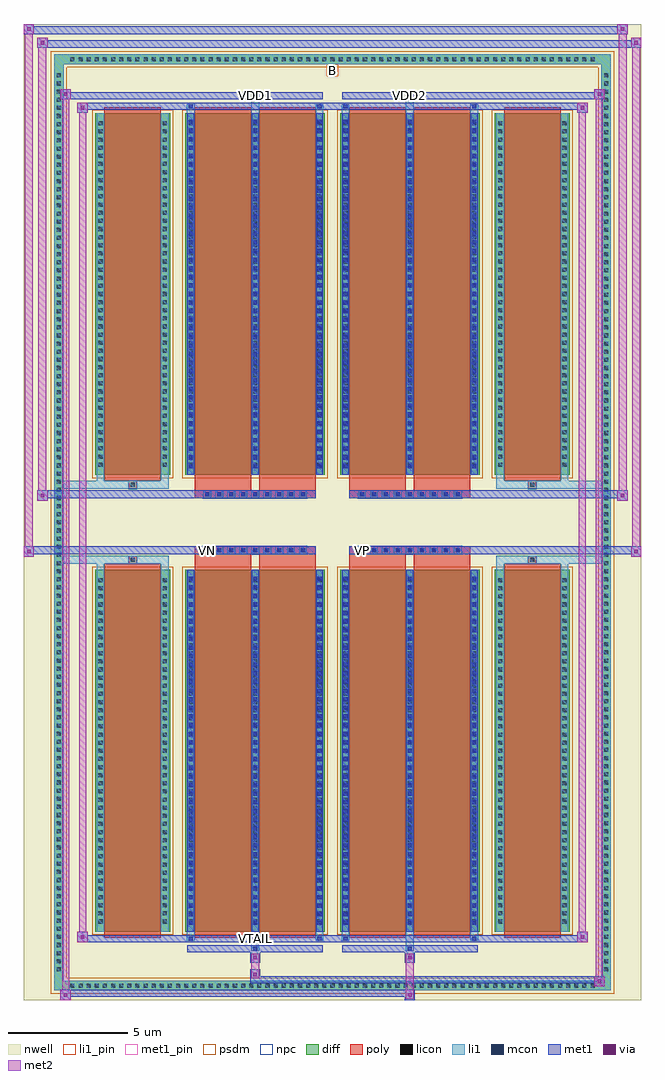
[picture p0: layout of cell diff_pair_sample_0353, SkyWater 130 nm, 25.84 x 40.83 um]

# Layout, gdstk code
import gdstk
lib = gdstk.Library(unit=1e-6, precision=5e-09)
def R(c, l, rs):  # rectangles x0, y0, x1, y1
    for r in rs: c.add(gdstk.rectangle(r[:2], r[2:], *l))
def A(c, l, x, y, w, h, nx, ny, dx, dy):  # array of equal rectangles
    R(c, l, [(x+i*dx, y+j*dy, x+i*dx+w, y+j*dy+h) for i in range(nx) for j in range(ny)])
def P(c, l, *ps):  # polygons
    for p in ps: c.add(gdstk.Polygon(p, *l))
nwell = (64, 20)
diff = (65, 20)
poly = (66, 20)
licon = (66, 44)
li1_pin = (67, 16)
li1 = (67, 20)
mcon = (67, 44)
met1_pin = (68, 16)
met1 = (68, 20)
via = (68, 44)
met2 = (69, 20)
psdm = (94, 20)
npc = (95, 20)

diff_pair_sample_0353 = lib.new_cell('diff_pair_sample_0353')
R(diff_pair_sample_0353, nwell, [(-12.92,-19.98,12.92,20.85), (-10.24,-18.17,-0.01,-0.805), (0.01,-18.17,10.24,-0.805), (-10.24,0.805,-0.01,18.17), (0.01,0.805,10.24,18.17)])
A(diff_pair_sample_0353, diff, -11.085, -19.58, 0.41, 0.41, 65, 2, 0.34, 38.75)
A(diff_pair_sample_0353, diff, -11.65, -18.905, 0.41, 0.41, 1, 111, 0, 0.34)
A(diff_pair_sample_0353, diff, 11.24, -18.905, 0.41, 0.41, 1, 111, 0, 0.34)
R(diff_pair_sample_0353, diff, [(-11.085,-19.58,11.085,-19.17), (-11.65,-18.905,-11.24,18.905), (11.24,-18.905,11.65,18.905), (-9.93,-17.125,-6.79,-1.985), (-6.15,-17.125,-0.32,-1.985), (0.32,-17.125,6.15,-1.985), (6.79,-17.125,9.93,-1.985), (-9.93,1.985,-6.79,17.125), (-6.15,1.985,-0.32,17.125), (0.32,1.985,6.15,17.125), (6.79,1.985,9.93,17.125), (-11.085,19.17,11.085,19.58)])
P(diff_pair_sample_0353, diff, [(11.65,19.58),(-11.65,19.58),(-11.65,-19.17),(-11.24,-19.17),(-11.24,19.17),(11.24,19.17),(11.24,-19.17),(-11.24,-19.17),(-11.65,-19.17),(-11.65,-19.58),(11.65,-19.58)])
A(diff_pair_sample_0353, poly, -5.4, -1.335, 0.33, 0.33, 9, 2, 0.5, 2.34)
A(diff_pair_sample_0353, poly, 1.07, -1.335, 0.33, 0.33, 9, 2, 0.5, 2.34)
R(diff_pair_sample_0353, poly, [(-9.54,-17.375,-7.18,-1.735), (-5.76,-17.375,-3.4,-1.735), (-3.07,-17.375,-0.71,-1.735), (0.71,-17.375,3.07,-1.735), (3.4,-17.375,5.76,-1.735), (7.18,-17.375,9.54,-1.735), (-8.525,-1.735,-8.195,-1.405), (-8.525,-1.735,-8.195,-1.405), (-5.76,-1.735,-3.4,-1.335), (-3.07,-1.735,-0.71,-1.335), (0.71,-1.735,3.07,-1.335), (3.4,-1.735,5.76,-1.335), (8.195,-1.735,8.525,-1.405), (8.195,-1.735,8.525,-1.405), (-5.76,-1.335,-0.71,-1.005), (0.71,-1.335,5.76,-1.005), (-5.76,1.005,-0.71,1.335), (0.71,1.005,5.76,1.335), (-5.76,1.335,-3.4,1.735), (-3.07,1.335,-0.71,1.735), (0.71,1.335,3.07,1.735), (3.4,1.335,5.76,1.735), (-8.525,1.405,-8.195,1.735), (-8.525,1.405,-8.195,1.735), (8.195,1.405,8.525,1.735), (8.195,1.405,8.525,1.735), (-9.54,1.735,-7.18,17.375), (-5.76,1.735,-3.4,17.375), (-3.07,1.735,-0.71,17.375), (0.71,1.735,3.07,17.375), (3.4,1.735,5.76,17.375), (7.18,1.735,9.54,17.375)])
A(diff_pair_sample_0353, licon, -10.965, -19.46, 0.17, 0.17, 65, 2, 0.34, 38.75)
A(diff_pair_sample_0353, licon, -11.53, -18.785, 0.17, 0.17, 1, 111, 0, 0.34)
A(diff_pair_sample_0353, licon, 11.36, -18.785, 0.17, 0.17, 1, 111, 0, 0.34)
A(diff_pair_sample_0353, licon, -9.79, -16.78, 0.17, 0.17, 1, 43, 0, 0.34)
A(diff_pair_sample_0353, licon, -7.1, -16.78, 0.17, 0.17, 1, 43, 0, 0.34)
A(diff_pair_sample_0353, licon, -6.01, -16.78, 0.17, 0.17, 3, 43, 2.69, 0.34)
A(diff_pair_sample_0353, licon, 0.46, -16.78, 0.17, 0.17, 3, 43, 2.69, 0.34)
A(diff_pair_sample_0353, licon, 6.93, -16.78, 0.17, 0.17, 1, 43, 0, 0.34)
A(diff_pair_sample_0353, licon, 9.62, -16.78, 0.17, 0.17, 1, 43, 0, 0.34)
A(diff_pair_sample_0353, licon, -5.32, -1.255, 0.17, 0.17, 9, 2, 0.5, 2.34)
A(diff_pair_sample_0353, licon, 1.15, -1.255, 0.17, 0.17, 9, 2, 0.5, 2.34)
A(diff_pair_sample_0353, licon, -9.79, 2.33, 0.17, 0.17, 1, 43, 0, 0.34)
A(diff_pair_sample_0353, licon, -7.1, 2.33, 0.17, 0.17, 1, 43, 0, 0.34)
A(diff_pair_sample_0353, licon, -6.01, 2.33, 0.17, 0.17, 3, 43, 2.69, 0.34)
A(diff_pair_sample_0353, licon, 0.46, 2.33, 0.17, 0.17, 3, 43, 2.69, 0.34)
A(diff_pair_sample_0353, licon, 6.93, 2.33, 0.17, 0.17, 1, 43, 0, 0.34)
A(diff_pair_sample_0353, licon, 9.62, 2.33, 0.17, 0.17, 1, 43, 0, 0.34)
R(diff_pair_sample_0353, licon, [(-8.445,-1.655,-8.275,-1.485), (8.275,-1.655,8.445,-1.485), (-8.445,1.485,-8.275,1.655), (8.275,1.485,8.445,1.655)])
R(diff_pair_sample_0353, li1_pin, [(-0.25,18.67,0.25,19.17)])
A(diff_pair_sample_0353, li1, -11.045, -19.54, 0.33, 0.33, 65, 2, 0.34, 38.75)
A(diff_pair_sample_0353, li1, -11.61, -18.865, 0.33, 0.33, 1, 111, 0, 0.34)
A(diff_pair_sample_0353, li1, 11.28, -18.865, 0.33, 0.33, 1, 111, 0, 0.34)
A(diff_pair_sample_0353, li1, -6.09, -17.125, 0.33, 15.14, 3, 2, 2.69, 19.11)
A(diff_pair_sample_0353, li1, 0.38, -17.125, 0.33, 15.14, 3, 2, 2.69, 19.11)
A(diff_pair_sample_0353, li1, -9.87, -16.86, 0.33, 0.33, 1, 43, 0, 0.34)
A(diff_pair_sample_0353, li1, -7.18, -16.86, 0.33, 0.33, 1, 43, 0, 0.34)
A(diff_pair_sample_0353, li1, -6.09, -16.86, 0.33, 0.33, 3, 43, 2.69, 0.34)
A(diff_pair_sample_0353, li1, 0.38, -16.86, 0.33, 0.33, 3, 43, 2.69, 0.34)
A(diff_pair_sample_0353, li1, 6.85, -16.86, 0.33, 0.33, 1, 43, 0, 0.34)
A(diff_pair_sample_0353, li1, 9.54, -16.86, 0.33, 0.33, 1, 43, 0, 0.34)
A(diff_pair_sample_0353, li1, -6.01, -16.84, 0.17, 0.17, 3, 41, 2.69, 0.36)
A(diff_pair_sample_0353, li1, -6.01, -16.84, 0.17, 14.57, 3, 2, 2.69, 19.11)
A(diff_pair_sample_0353, li1, 0.46, -16.84, 0.17, 0.17, 3, 41, 2.69, 0.36)
A(diff_pair_sample_0353, li1, 0.46, -16.84, 0.17, 14.57, 3, 2, 2.69, 19.11)
A(diff_pair_sample_0353, li1, -5.4, -1.335, 0.33, 0.33, 9, 2, 0.5, 2.34)
A(diff_pair_sample_0353, li1, 1.07, -1.335, 0.33, 0.33, 9, 2, 0.5, 2.34)
A(diff_pair_sample_0353, li1, -9.87, 2.25, 0.33, 0.33, 1, 43, 0, 0.34)
A(diff_pair_sample_0353, li1, -7.18, 2.25, 0.33, 0.33, 1, 43, 0, 0.34)
A(diff_pair_sample_0353, li1, -6.09, 2.25, 0.33, 0.33, 3, 43, 2.69, 0.34)
A(diff_pair_sample_0353, li1, 0.38, 2.25, 0.33, 0.33, 3, 43, 2.69, 0.34)
A(diff_pair_sample_0353, li1, 6.85, 2.25, 0.33, 0.33, 1, 43, 0, 0.34)
A(diff_pair_sample_0353, li1, 9.54, 2.25, 0.33, 0.33, 1, 43, 0, 0.34)
A(diff_pair_sample_0353, li1, -6.01, 2.27, 0.17, 0.17, 3, 41, 2.69, 0.36)
A(diff_pair_sample_0353, li1, 0.46, 2.27, 0.17, 0.17, 3, 41, 2.69, 0.36)
R(diff_pair_sample_0353, li1, [(-11.65,-19.58,-11.24,-19.17), (-11.65,-19.58,-11.24,-19.17), (-11.24,-19.58,11.24,-19.17), (11.24,-19.58,11.65,-19.17), (11.24,-19.58,11.65,-19.17), (-11.65,-19.17,-11.24,19.17), (11.24,-19.17,11.65,19.17), (-3.4,-17.93,-3.07,-17.125), (-3.32,-17.93,-3.15,-17.76), (3.07,-17.93,3.4,-17.125), (3.15,-17.93,3.32,-17.76), (-6.09,-17.5,-5.76,-17.125), (-6.01,-17.5,-5.84,-17.33), (-0.71,-17.5,-0.38,-17.125), (-0.63,-17.5,-0.46,-17.33), (0.38,-17.5,0.71,-17.125), (0.46,-17.5,0.63,-17.33), (5.76,-17.5,6.09,-17.125), (5.84,-17.5,6.01,-17.33), (-9.87,-17.125,-9.54,-1.985), (-7.18,-17.125,-6.85,-1.985), (6.85,-17.125,7.18,-1.985), (9.54,-17.125,9.87,-1.985), (-9.87,-1.985,-9.54,-1.405), (-7.18,-1.985,-6.85,-1.405), (6.85,-1.985,7.18,-1.405), (9.54,-1.985,9.87,-1.405), (-11.65,-1.735,-8.525,-1.405), (-9.87,-1.735,-8.525,-1.405), (-8.525,-1.735,-8.195,-1.405), (-8.195,-1.735,-6.85,-1.405), (6.85,-1.735,8.195,-1.405), (8.195,-1.735,8.525,-1.405), (8.195,-1.735,11.65,-1.405), (8.525,-1.735,9.87,-1.405), (-11.65,1.405,-8.525,1.735), (-9.87,1.405,-8.525,1.735), (-9.87,1.405,-9.54,1.985), (-8.525,1.405,-8.195,1.735), (-8.195,1.405,-6.85,1.735), (-7.18,1.405,-6.85,1.985), (6.85,1.405,8.195,1.735), (6.85,1.405,7.18,1.985), (8.195,1.405,8.525,1.735), (8.195,1.405,11.65,1.735), (8.525,1.405,9.87,1.735), (9.54,1.405,9.87,1.985), (-9.87,1.985,-9.54,17.125), (-7.18,1.985,-6.85,17.125), (6.85,1.985,7.18,17.125), (9.54,1.985,9.87,17.125), (-6.09,17.125,-5.76,17.5), (-3.4,17.125,-3.07,17.93), (-0.71,17.125,-0.38,17.5), (0.38,17.125,0.71,17.5), (3.07,17.125,3.4,17.93), (5.76,17.125,6.09,17.5), (-6.01,17.33,-5.84,17.5), (-0.63,17.33,-0.46,17.5), (0.46,17.33,0.63,17.5), (5.84,17.33,6.01,17.5), (-3.32,17.76,-3.15,17.93), (3.15,17.76,3.32,17.93), (-11.65,19.17,-11.24,19.58), (-11.65,19.17,-11.24,19.58), (-11.24,19.17,11.24,19.58), (11.24,19.17,11.65,19.58), (11.24,19.17,11.65,19.58)])
A(diff_pair_sample_0353, mcon, -6.01, -16.84, 0.17, 0.17, 3, 41, 2.69, 0.36)
A(diff_pair_sample_0353, mcon, 0.46, -16.84, 0.17, 0.17, 3, 41, 2.69, 0.36)
A(diff_pair_sample_0353, mcon, -5.32, -1.255, 0.17, 0.17, 9, 2, 0.5, 2.34)
A(diff_pair_sample_0353, mcon, 1.15, -1.255, 0.17, 0.17, 9, 2, 0.5, 2.34)
A(diff_pair_sample_0353, mcon, -6.01, 2.27, 0.17, 0.17, 3, 41, 2.69, 0.36)
A(diff_pair_sample_0353, mcon, 0.46, 2.27, 0.17, 0.17, 3, 41, 2.69, 0.36)
R(diff_pair_sample_0353, mcon, [(-3.32,-17.93,-3.15,-17.76), (3.15,-17.93,3.32,-17.76), (-6.01,-17.5,-5.84,-17.33), (-0.63,-17.5,-0.46,-17.33), (0.46,-17.5,0.63,-17.33), (5.84,-17.5,6.01,-17.33), (-6.01,17.33,-5.84,17.5), (-0.63,17.33,-0.46,17.5), (0.46,17.33,0.63,17.5), (5.84,17.33,6.01,17.5), (-3.32,17.76,-3.15,17.93), (3.15,17.76,3.32,17.93)])
R(diff_pair_sample_0353, met1_pin, [(-3.37,-17.54,-3.1,-17.27), (-5.37,-1.295,-5.1,-1.025), (1.1,-1.295,1.37,-1.025), (-3.37,17.72,-3.1,17.99), (3.1,17.72,3.37,17.99)])
A(diff_pair_sample_0353, met1, -6.07, -17.125, 0.29, 15.14, 3, 2, 2.69, 19.11)
A(diff_pair_sample_0353, met1, 0.4, -17.125, 0.29, 15.14, 3, 2, 2.69, 19.11)
A(diff_pair_sample_0353, met1, -6.07, -16.9, 0.29, 0.29, 3, 41, 2.69, 0.36)
A(diff_pair_sample_0353, met1, 0.4, -16.9, 0.29, 0.29, 3, 41, 2.69, 0.36)
A(diff_pair_sample_0353, met1, -5.38, -1.315, 0.29, 0.29, 9, 2, 0.5, 2.34)
A(diff_pair_sample_0353, met1, 1.09, -1.315, 0.29, 0.29, 9, 2, 0.5, 2.34)
A(diff_pair_sample_0353, met1, -6.07, 2.21, 0.29, 0.29, 3, 41, 2.69, 0.36)
A(diff_pair_sample_0353, met1, 0.4, 2.21, 0.29, 0.29, 3, 41, 2.69, 0.36)
R(diff_pair_sample_0353, met1, [(-11.38,-19.98,-10.95,-19.55), (3.02,-19.98,3.45,-19.55), (-11.38,-19.84,3.45,-19.55), (10.95,-19.41,11.38,-18.98), (-3.45,-19.27,11.38,-18.98), (-3.45,-19.13,-3.02,-18.7), (-3.45,-18.42,-3.02,-17.99), (3.02,-18.42,3.45,-17.99), (-6.07,-17.99,-0.4,-17.7), (-3.38,-17.99,-3.09,-17.7), (0.4,-17.99,6.07,-17.7), (3.09,-17.99,3.38,-17.7), (-10.67,-17.56,-10.24,-17.13), (-10.67,-17.56,-6.07,-17.27), (-6.07,-17.56,-5.78,-17.27), (-6.07,-17.56,-0.4,-17.27), (-0.69,-17.56,-0.4,-17.27), (-0.4,-17.56,0.4,-17.27), (0.4,-17.56,0.69,-17.27), (0.4,-17.56,6.07,-17.27), (5.78,-17.56,6.07,-17.27), (6.07,-17.56,10.67,-17.27), (10.24,-17.56,10.67,-17.13), (-12.92,-1.435,-12.49,-1.005), (12.49,-1.435,12.92,-1.005), (-12.92,-1.335,-0.71,-1.005), (-5.76,-1.335,-0.71,-1.005), (0.71,-1.335,5.76,-1.005), (0.71,-1.335,12.92,-1.005), (-12.35,0.905,-11.92,1.335), (11.92,0.905,12.35,1.335), (-12.35,1.005,-5.76,1.335), (-5.76,1.005,-0.71,1.335), (0.71,1.005,5.76,1.335), (5.76,1.005,12.35,1.335), (-10.67,17.13,-10.24,17.56), (10.24,17.13,10.67,17.56), (-10.67,17.27,-6.07,17.56), (-6.07,17.27,-5.78,17.56), (-6.07,17.27,-0.4,17.56), (-0.69,17.27,-0.4,17.56), (-0.4,17.27,0.4,17.56), (0.4,17.27,0.69,17.56), (0.4,17.27,6.07,17.56), (5.78,17.27,6.07,17.56), (6.07,17.27,10.67,17.56), (-11.38,17.7,-10.95,18.13), (-11.38,17.7,-6.07,17.99), (-6.07,17.7,-0.4,17.99), (-3.38,17.7,-3.09,17.99), (0.4,17.7,6.07,17.99), (3.09,17.7,3.38,17.99), (6.07,17.7,11.38,17.99), (10.95,17.7,11.38,18.13), (-12.35,19.85,-11.92,20.28), (-12.35,19.85,-10.24,20.18), (-10.24,19.85,10.24,20.18), (10.24,19.85,12.92,20.18), (12.49,19.85,12.92,20.28), (-12.92,20.42,-12.49,20.85), (-12.92,20.42,-10.24,20.75), (-10.24,20.42,10.24,20.75), (10.24,20.42,12.35,20.75), (11.92,20.42,12.35,20.85)])
R(diff_pair_sample_0353, via, [(-11.24,-19.84,-11.09,-19.69), (3.16,-19.84,3.31,-19.69), (11.09,-19.27,11.24,-19.12), (-3.31,-18.99,-3.16,-18.84), (-3.31,-18.28,-3.16,-18.13), (3.16,-18.28,3.31,-18.13), (-10.53,-17.42,-10.38,-17.27), (10.38,-17.42,10.53,-17.27), (-12.78,-1.295,-12.63,-1.145), (12.63,-1.295,12.78,-1.145), (-12.21,1.045,-12.06,1.195), (12.06,1.045,12.21,1.195), (-10.53,17.27,-10.38,17.42), (10.38,17.27,10.53,17.42), (-11.24,17.84,-11.09,17.99), (11.09,17.84,11.24,17.99), (-12.21,19.99,-12.06,20.14), (12.63,19.99,12.78,20.14), (-12.78,20.56,-12.63,20.71), (12.06,20.56,12.21,20.71)])
R(diff_pair_sample_0353, met2, [(-11.38,-19.98,-10.95,-19.55), (-11.31,-19.98,-11.02,18.13), (-11.02,-19.98,-10.95,-19.55), (-11.33,-19.93,-11,-19.6), (3.07,-19.93,3.4,-19.6), (3.07,-19.6,3.4,-18.37), (10.95,-19.41,11.38,-18.98), (11.02,-19.41,11.31,18.13), (11.31,-19.41,11.38,-18.98), (11,-19.36,11.33,-19.03), (-3.4,-19.08,-3.07,-18.75), (-3.4,-18.75,-3.07,-18.37), (-3.4,-18.37,-3.07,-18.04), (3.07,-18.37,3.4,-18.04), (-10.67,-17.56,-10.24,-17.13), (-10.6,-17.56,-10.31,17.56), (-10.31,-17.56,-10.24,-17.13), (10.24,-17.56,10.67,-17.13), (10.31,-17.56,10.6,17.56), (10.6,-17.56,10.67,-17.13), (-10.62,-17.51,-10.29,-17.18), (10.29,-17.51,10.62,-17.18), (-12.92,-1.435,-12.49,-1.005), (-12.87,-1.435,-12.54,20.85), (-12.54,-1.435,-12.49,-1.005), (12.49,-1.435,12.92,-1.005), (12.54,-1.435,12.87,20.28), (12.87,-1.435,12.92,-1.005), (-12.87,-1.385,-12.54,-1.055), (12.54,-1.385,12.87,-1.055), (-12.35,0.905,-11.92,1.335), (-12.3,0.905,-11.97,20.28), (-11.97,0.905,-11.92,1.335), (11.92,0.905,12.35,1.335), (11.97,0.905,12.3,20.85), (12.3,0.905,12.35,1.335), (-12.3,0.955,-11.97,1.285), (11.97,0.955,12.3,1.285), (-10.67,17.13,-10.24,17.56), (-10.31,17.13,-10.24,17.56), (10.24,17.13,10.67,17.56), (10.6,17.13,10.67,17.56), (-10.62,17.18,-10.29,17.51), (10.29,17.18,10.62,17.51), (-11.38,17.7,-10.95,18.13), (-11.02,17.7,-10.95,18.13), (10.95,17.7,11.38,18.13), (11.31,17.7,11.38,18.13), (-11.33,17.75,-11,18.08), (11,17.75,11.33,18.08), (-12.35,19.85,-11.92,20.28), (-11.97,19.85,-11.92,20.28), (12.49,19.85,12.92,20.28), (12.87,19.85,12.92,20.28), (-12.3,19.9,-11.97,20.23), (12.54,19.9,12.87,20.23), (-12.92,20.42,-12.49,20.85), (-12.54,20.42,-12.49,20.85), (11.92,20.42,12.35,20.85), (12.3,20.42,12.35,20.85), (-12.87,20.47,-12.54,20.8), (11.97,20.47,12.3,20.8)])
R(diff_pair_sample_0353, psdm, [(-10.06,-17.255,-6.66,-1.855), (-6.28,-17.255,-0.19,-1.855), (0.19,-17.255,6.28,-1.855), (6.66,-17.255,10.06,-1.855), (-10.06,1.855,-6.66,17.255), (-6.28,1.855,-0.19,17.255), (0.19,1.855,6.28,17.255), (6.66,1.855,10.06,17.255)])
P(diff_pair_sample_0353, psdm, [(11.78,19.71),(-11.78,19.71),(-11.78,-19.04),(-11.11,-19.04),(-11.11,19.04),(11.11,19.04),(11.11,-19.04),(-11.11,-19.04),(-11.78,-19.04),(-11.78,-19.71),(11.78,-19.71)])
A(diff_pair_sample_0353, npc, -5.42, -1.355, 0.37, 0.37, 9, 2, 0.5, 2.34)
A(diff_pair_sample_0353, npc, 1.05, -1.355, 0.37, 0.37, 9, 2, 0.5, 2.34)
R(diff_pair_sample_0353, npc, [(-8.545,-1.755,-8.175,-1.385), (8.175,-1.755,8.545,-1.385), (-5.42,-1.355,-4.55,-0.985), (-5.42,-1.355,-4.55,-0.985), (-4.92,-1.355,-4.05,-0.985), (-4.92,-1.355,-4.05,-0.985), (-4.42,-1.355,-3.55,-0.985), (-4.42,-1.355,-3.55,-0.985), (-3.92,-1.355,-3.05,-0.985), (-3.92,-1.355,-3.05,-0.985), (-3.42,-1.355,-2.55,-0.985), (-3.42,-1.355,-2.55,-0.985), (-2.92,-1.355,-2.05,-0.985), (-2.92,-1.355,-2.05,-0.985), (-2.42,-1.355,-1.55,-0.985), (-2.42,-1.355,-1.55,-0.985), (-1.92,-1.355,-1.05,-0.985), (-1.92,-1.355,-1.05,-0.985), (1.05,-1.355,1.92,-0.985), (1.05,-1.355,1.92,-0.985), (1.55,-1.355,2.42,-0.985), (1.55,-1.355,2.42,-0.985), (2.05,-1.355,2.92,-0.985), (2.05,-1.355,2.92,-0.985), (2.55,-1.355,3.42,-0.985), (2.55,-1.355,3.42,-0.985), (3.05,-1.355,3.92,-0.985), (3.05,-1.355,3.92,-0.985), (3.55,-1.355,4.42,-0.985), (3.55,-1.355,4.42,-0.985), (4.05,-1.355,4.92,-0.985), (4.05,-1.355,4.92,-0.985), (4.55,-1.355,5.42,-0.985), (4.55,-1.355,5.42,-0.985), (-5.42,0.985,-4.55,1.355), (-5.42,0.985,-4.55,1.355), (-4.92,0.985,-4.05,1.355), (-4.92,0.985,-4.05,1.355), (-4.42,0.985,-3.55,1.355), (-4.42,0.985,-3.55,1.355), (-3.92,0.985,-3.05,1.355), (-3.92,0.985,-3.05,1.355), (-3.42,0.985,-2.55,1.355), (-3.42,0.985,-2.55,1.355), (-2.92,0.985,-2.05,1.355), (-2.92,0.985,-2.05,1.355), (-2.42,0.985,-1.55,1.355), (-2.42,0.985,-1.55,1.355), (-1.92,0.985,-1.05,1.355), (-1.92,0.985,-1.05,1.355), (1.05,0.985,1.92,1.355), (1.05,0.985,1.92,1.355), (1.55,0.985,2.42,1.355), (1.55,0.985,2.42,1.355), (2.05,0.985,2.92,1.355), (2.05,0.985,2.92,1.355), (2.55,0.985,3.42,1.355), (2.55,0.985,3.42,1.355), (3.05,0.985,3.92,1.355), (3.05,0.985,3.92,1.355), (3.55,0.985,4.42,1.355), (3.55,0.985,4.42,1.355), (4.05,0.985,4.92,1.355), (4.05,0.985,4.92,1.355), (4.55,0.985,5.42,1.355), (4.55,0.985,5.42,1.355), (-8.545,1.385,-8.175,1.755), (8.175,1.385,8.545,1.755)])
diff_pair_sample_0353.add(gdstk.Label('VTAIL', (-3.235,-17.405), layer=68, texttype=5))
diff_pair_sample_0353.add(gdstk.Label('VN', (-5.235,-1.16), layer=68, texttype=5))
diff_pair_sample_0353.add(gdstk.Label('VP', (1.235,-1.16), layer=68, texttype=5))
diff_pair_sample_0353.add(gdstk.Label('B', (0,18.92), layer=67, texttype=5))
diff_pair_sample_0353.add(gdstk.Label('VDD2', (3.235,17.855), layer=68, texttype=5))
diff_pair_sample_0353.add(gdstk.Label('VDD1', (-3.235,17.855), layer=68, texttype=5))

lib.write_gds('diff_pair_sample_0353.gds')
